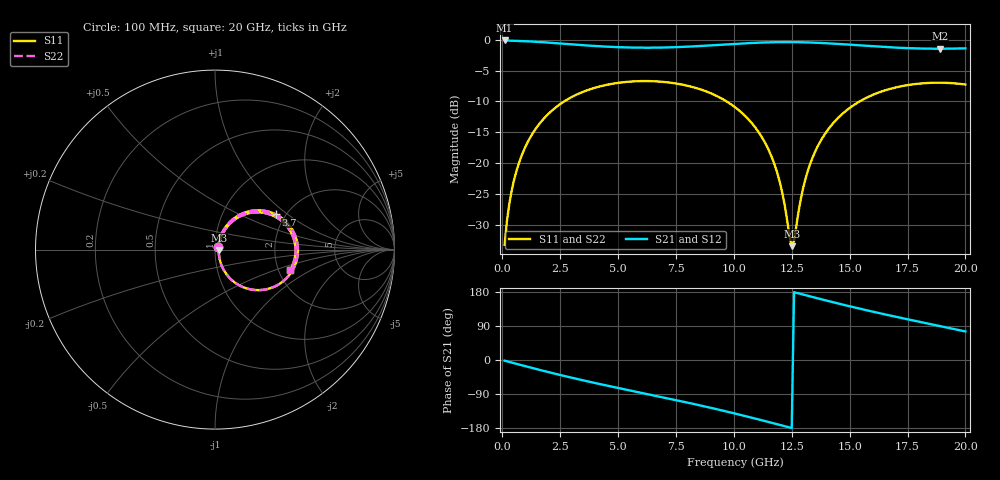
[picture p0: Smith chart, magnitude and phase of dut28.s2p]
! Touchstone file exported from HFSS 2026.1.0
!  File:  C:/ffzhzh/LocalFiles/Ansys_Project_Files/temp_train_TSV_RDL_28_1782963764_45748.aedt
!  Generated:  11:55:37 AM Jul  2, 2026
!  Design:  TSV_RDL
!  Project:  temp_train_TSV_RDL_28_1782963764_45748
! Variables:
!  h_bsmrdl = 4.8um
!  h_ox = 20um
!  h_rdl = 5um
!  h_sub = 65.35um
!  h_tmrdl = 4.06um
!  h_tsv = 65.35um
!  h_via = 3um
!  l_bsmrdl = 513.08um
!  l_sub = 5060.68um
!  l_tmrdl = 740.37um
!  m_sub = 200um
!  pitch = 49.9um
!  r_tsv = 7.25um
!  s_tmrdl = 10um
!  w_bsmrdl = 24.37um
!  w_sub = 500um
!  w_tmrdl = 28.95um
!  x_tsv_center1 = 754.845um
!  x_tsv_center2 = 1292.295um
!  x_tsv_center3 = 2061.615um
!  x_tsv_center4 = 2599.065um
!  x_tsv_center5 = 3368.385um
!  x_tsv_center6 = 3905.835um
# GHz S MA R 50.000000
! Terminal data exported
! Port[1] = TM_RDL1_1_T1
! Port[2] = TM_RDL5_1_T1
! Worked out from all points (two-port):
!   200 points, 100 MHz to 20 GHz, reference 50 ohm
!   highest |S21| = -0.14 dB at 100 MHz (marker M1); lowest = -1.5 dB at 18.9 GHz (marker M2)
!   |S21| within 3 dB of the highest: start of sweep to end of sweep
!   lowest |S11| = -33.4 dB at 12.5 GHz (marker M3), VSWR 1.04, Z = 52.2 - j0.305 ohm
!   |S11| at or under -10 dB: start of sweep to 2.668 GHz; 9.694 GHz to 15.43 GHz (5.732 GHz wide, 45.6 % of centre)
!   |S22| runs from -33.6 to -6.7 dB; largest |S21 - S12| = 1.7e-14
!   S11 on the Smith chart (normalised r, x): 100 MHz: 1.03, +0.03; 3.7 GHz: 1.78, +0.82; 20 GHz: 2.32, -0.64
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0.1  0.02199 42.5  0.9841 -1.7  0.9841 -1.7  0.02199 42.5
! Gamma 0 0 0 0
! Port Impedance 50 0 50 0
0.3  0.04678 62.5  0.9812 -5.1  0.9812 -5.1  0.04678 62.5
0.5  0.07238 66.5  0.9787 -8.3  0.9787 -8.3  0.07238 66.5
1.1  0.1488 64.1  0.9686 -18.0  0.9686 -18.0  0.1488 64.1
2.1  0.2626 51.6  0.9425 -33.6  0.9425 -33.6  0.2626 51.5
3.5  0.3793 32.7  0.9007 -53.8  0.9007 -53.8  0.3793 32.7
3.7  0.3916 30.0  0.8953 -56.6  0.8953 -56.6  0.3916 30.0
5.3  0.4539 9.8  0.865 -77.7  0.865 -77.7  0.454 9.8
6.8  0.4578 -8.6  0.8618 -96.8  0.8618 -96.8  0.4578 -8.6
8.6  0.3938 -31.1  0.8886 -120.6  0.8886 -120.6  0.3938 -31.2
10.1  0.2799 -50.7  0.9244 -142.0  0.9244 -142.0  0.2799 -50.8
11  0.1866 -61.8  0.9431 -155.7  0.9431 -155.7  0.1866 -62.0
11.6  0.1167 -67.0  0.9513 -165.2  0.9513 -165.2  0.1166 -67.3
12.1  0.05694 -63.3  0.9546 -173.1  0.9546 -173.1  0.05678 -63.8
12.5  0.02143 -7.8  0.9545 -179.5  0.9545 -179.5  0.02095 -8.0
12.6  0.02365 22.7  0.9541 178.9  0.9541 178.9  0.0232 23.1
13  0.06406 61.3  0.9511 172.5  0.9511 172.5  0.06388 61.7
13.4  0.1114 63.5  0.9459 166.2  0.9459 166.2  0.1113 63.8
14.7  0.2525 50.4  0.9176 146.2  0.9176 146.2  0.2525 50.5
16.7  0.3975 24.9  0.8673 118.0  0.8673 118.0  0.3975 25.0
18.9  0.4485 -1.8  0.8438 89.5  0.8438 89.5  0.4485 -1.8
20  0.4338 -15.1  0.8503 75.4  0.8503 75.4  0.4338 -15.0
